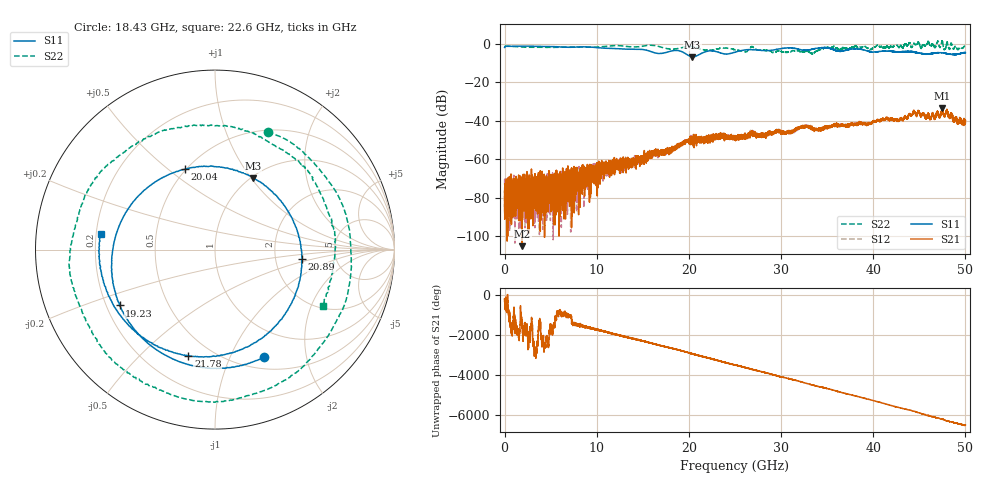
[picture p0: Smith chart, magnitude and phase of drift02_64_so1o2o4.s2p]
!Created with skrf (http://scikit-rf.org).
# Hz S RI R 50.0
!freq ReS11 ImS11 ReS21 ImS21 ReS12 ImS12 ReS22 ImS22
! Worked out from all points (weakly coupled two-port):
!   10001 points, 300 kHz to 50 GHz, reference 50 ohm
!   highest |S21| = -33.43 dB at 47.47 GHz (marker M1); lowest = -105.1 dB at 1.905 GHz (marker M2)
!   lowest |S11| = -6.9 dB at 20.38 GHz (marker M3), VSWR 2.64, Z = 51.1 + j51.1 ohm
!   |S11| at or under -10 dB: nowhere
!   |S22| runs from -5.4 to 1.6 dB; largest |S21 - S12| = 0.0043
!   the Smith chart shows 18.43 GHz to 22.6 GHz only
!   S11 on the Smith chart (normalised r, x): 18.43 GHz: 0.64, -1.36; 19.23 GHz: 0.25, -0.25; 20.04 GHz: 0.49, +0.58; 20.89 GHz: 2.84, -0.38; 21.78 GHz: 0.38, -0.71; 22.6 GHz: 0.22, +0.07
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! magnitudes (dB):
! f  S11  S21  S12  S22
! 300 kHz  -2.1  -86.6  -70.4  -1.3
! 310.3 MHz  -1.4  -75.3  -89.0  -1.3
! 1.905 GHz  -1.4  -105.1  -77.6  -1.9
! 5.485 GHz  -1.6  -86.1  -71.5  -2.0
! 8.335 GHz  -1.7  -69.6  -67.8  -1.9
! 16.67 GHz  -5.2  -56.5  -56.6  -1.4
! 18.43 GHz  -3.6  -53.8  -54.1  -2.9
! 19.23 GHz  -4.2  -51.9  -51.5  -2.1
! 20.04 GHz  -6.4  -51.3  -49.7  -1.5
! 20.38 GHz  -6.9  -51.1  -51.1  -1.7
! 20.89 GHz  -6.3  -51.1  -50.0  -2.1
! 21.78 GHz  -4.3  -51.3  -50.4  -3.5
! 22.6 GHz  -3.8  -48.0  -48.6  -3.4
! 25 GHz  -4.5  -50.0  -49.1  -3.2
! 26.11 GHz  -3.3  -48.3  -48.0  -4.3
! 26.91 GHz  -3.2  -46.4  -46.4  -1.7
! 33.34 GHz  -3.0  -44.0  -43.9  -5.2
! 34.89 GHz  -2.1  -43.9  -44.0  -2.2
! 41.67 GHz  -3.9  -39.1  -39.1  -2.1
! 44.42 GHz  -4.4  -35.0  -35.0  0.1
! 47.47 GHz  -4.8  -33.4  -34.2  1.4
! 50 GHz  -4.7  -39.9  -40.3  -1.6
